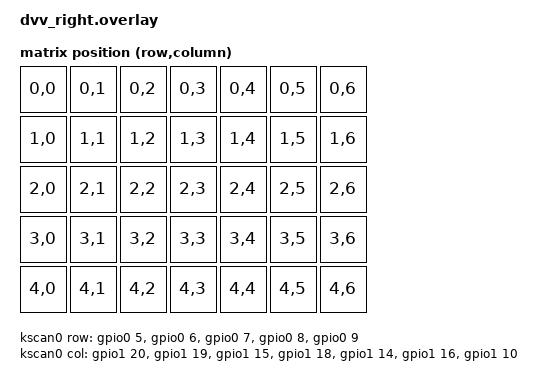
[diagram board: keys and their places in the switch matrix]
/ {
    chosen {
        zmk,kscan = &kscan0;
        zmk,matrix-transform = &default_transform;
    };

    kscan0: kscan {
        compatible = "zmk,kscan-gpio-matrix";
        diode-direction = "col2row";
        
        /* 5 рядов: 1(D5),2(D6),3(D7),4(D8),5(D9) */
        row-gpios = <&gpio0 5 GPIO_ACTIVE_HIGH>,
                    <&gpio0 6 GPIO_ACTIVE_HIGH>,
                    <&gpio0 7 GPIO_ACTIVE_HIGH>,
                    <&gpio0 8 GPIO_ACTIVE_HIGH>,
                    <&gpio0 9 GPIO_ACTIVE_HIGH>;

        /* 7 столбцов: 1(D20),2(D19),3(D15),4(D18),5(D14),6(D16),7(D10) */
        col-gpios = <&gpio1 20 GPIO_ACTIVE_HIGH>,
                    <&gpio1 19 GPIO_ACTIVE_HIGH>,
                    <&gpio1 15 GPIO_ACTIVE_HIGH>,
                    <&gpio1 18 GPIO_ACTIVE_HIGH>,
                    <&gpio1 14 GPIO_ACTIVE_HIGH>,
                    <&gpio1 16 GPIO_ACTIVE_HIGH>,
                    <&gpio1 10 GPIO_ACTIVE_HIGH>;
    };

    default_transform: matrix_transform {
        compatible = "zmk,matrix-transform";
        rows = <5>;
        columns = <7>;
        map = <
            RC(0,0) RC(0,1) RC(0,2) RC(0,3) RC(0,4) RC(0,5) RC(0,6)
            RC(1,0) RC(1,1) RC(1,2) RC(1,3) RC(1,4) RC(1,5) RC(1,6)
            RC(2,0) RC(2,1) RC(2,2) RC(2,3) RC(2,4) RC(2,5) RC(2,6)
            RC(3,0) RC(3,1) RC(3,2) RC(3,3) RC(3,4) RC(3,5) RC(3,6)
            RC(4,0) RC(4,1) RC(4,2) RC(4,3) RC(4,4) RC(4,5) RC(4,6)
        >;
    };
}; 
